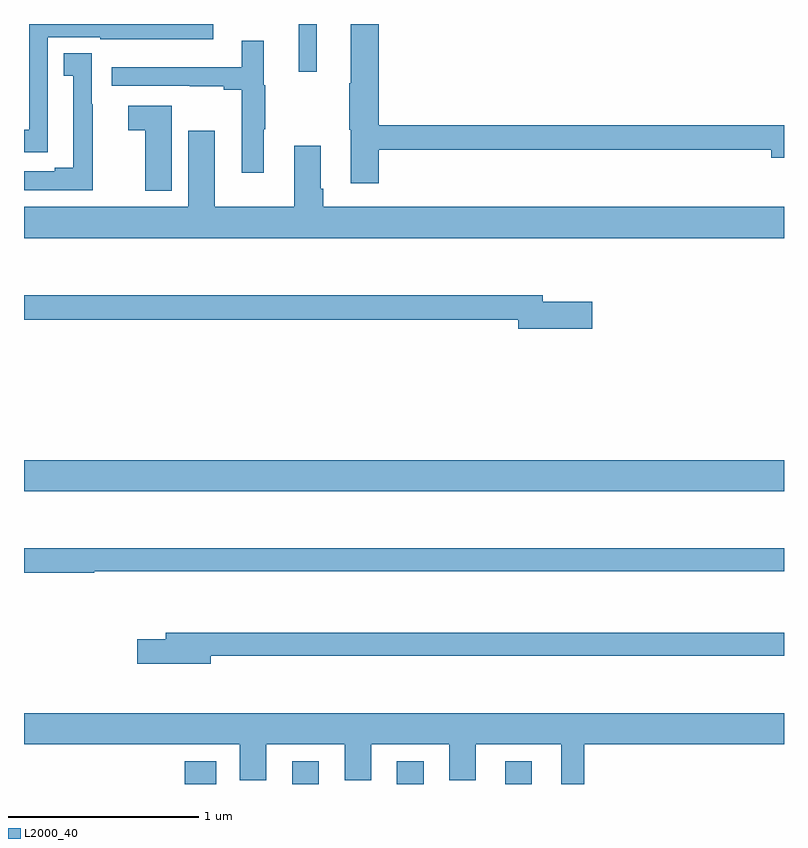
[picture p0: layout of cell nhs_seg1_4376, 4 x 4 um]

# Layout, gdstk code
import gdstk
lib = gdstk.Library(unit=1e-6, precision=1e-09)
def R(c, l, rs):  # rectangles x0, y0, x1, y1
    for r in rs: c.add(gdstk.rectangle(r[:2], r[2:], *l))
def P(c, l, *ps):  # polygons
    for p in ps: c.add(gdstk.Polygon(p, *l))
L2000_40 = (2000, 40)

nhs_seg1_4376 = lib.new_cell('nhs_seg1_4376')
R(nhs_seg1_4376, L2000_40, [(349.847,542.199,350.011,542.32), (350.411,542.199,350.551,542.32), (350.963,542.199,351.103,542.32), (351.533,542.199,351.673,542.32), (349,543.74,353,543.904), (350.445,545.949,350.542,546.199)])
P(nhs_seg1_4376, L2000_40, [(349.126,545.846),(349.125,545.846),(349.125,546.129),(349.401,546.129),(349.401,546.119),(349.996,546.119),(349.996,546.199),(349.028,546.199),(349.028,545.643),(349,545.643),(349,545.523),(349.126,545.523)],
  [(350.867,545.538),(352.934,545.538),(352.934,545.495),(353,545.495),(353,545.666),(350.867,545.666),(350.867,546.199),(350.72,546.199),(350.72,545.888),(350.713,545.888),(350.713,545.643),(350.72,545.643),(350.72,545.361),(350.867,545.361)],
  [(350.263,545.644),(350.271,545.644),(350.271,545.877),(350.263,545.877),(350.263,546.112),(350.147,546.112),(350.147,545.971),(349.461,545.971),(349.461,545.874),(349.873,545.874),(349.873,545.872),(350.051,545.872),(350.051,545.854),(350.147,545.854),(350.147,545.415),(350.263,545.415)],
  [(349.361,545.777),(349.356,545.777),(349.356,546.044),(349.21,546.044),(349.21,545.926),(349.259,545.926),(349.259,545.443),(349.163,545.443),(349.163,545.425),(349,545.425),(349,545.324),(349.361,545.324)],
  [(349.777,545.77),(349.548,545.77),(349.548,545.641),(349.637,545.641),(349.637,545.321),(349.777,545.321)],
  [(353,545.236),(350.576,545.236),(350.576,545.332),(350.563,545.332),(350.563,545.557),(350.423,545.557),(350.423,545.236),(350.005,545.236),(350.005,545.638),(349.865,545.638),(349.865,545.236),(349,545.236),(349,545.072),(353,545.072)],
  [(351.991,544.737),(351.73,544.737),(351.73,544.771),(349,544.771),(349,544.642),(351.602,544.642),(351.602,544.595),(351.991,544.595)],
  [(349.37,543.318),(353,543.318),(353,543.439),(349,543.439),(349,543.31),(349.37,543.31)],
  [(349.984,542.874),(353,542.874),(353,542.995),(349.745,542.995),(349.745,542.961),(349.596,542.961),(349.596,542.831),(349.984,542.831)],
  [(351.949,542.408),(353,542.408),(353,542.572),(349,542.572),(349,542.408),(350.135,542.408),(350.135,542.218),(350.275,542.218),(350.275,542.408),(350.687,542.408),(350.687,542.218),(350.827,542.218),(350.827,542.408),(351.239,542.408),(351.239,542.218),(351.378,542.218),(351.378,542.408),(351.827,542.408),(351.827,542.199),(351.949,542.199)])

lib.write_gds('nhs_seg1_4376.gds')
